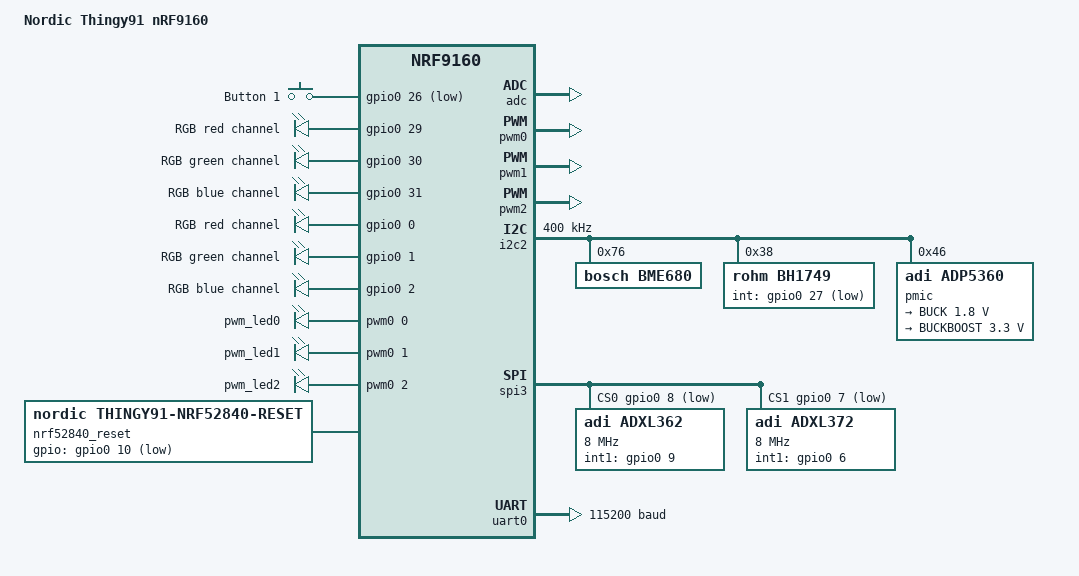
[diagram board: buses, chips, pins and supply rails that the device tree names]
/*
 * Copyright (c) 2019 Nordic Semiconductor ASA
 *
 * SPDX-License-Identifier: LicenseRef-Nordic-5-Clause
 */
#include "thingy91_nrf9160_common-pinctrl.dtsi"

/ {
	model = "Nordic Thingy91 nRF9160";
	compatible = "nordic,thingy91-nrf9160";

	chosen {
		zephyr,console = &uart0;
		zephyr,shell-uart = &uart0;
		zephyr,uart-mcumgr = &uart0;
	};

	buttons {
		compatible = "gpio-keys";

		button0: button_0 {
			gpios = <&gpio0 26 (GPIO_PULL_UP | GPIO_ACTIVE_LOW)>;
			label = "Button 1";
		};
	};

	leds {
		compatible = "gpio-leds";
		red_led: led_1 {
			gpios = <&gpio0 29 0>;
			label = "RGB red channel";
		};
		green_led: led_2 {
			gpios = <&gpio0 30 0>;
			label = "RGB green channel";
		};
		blue_led: led_3 {
			gpios = <&gpio0 31 0>;
			label = "RGB blue channel";
		};
		sense_red_led: led_4 {
			gpios = <&gpio0 0 0>;
			label = "RGB red channel";
		};
		sense_green_led: led_5 {
			gpios = <&gpio0 1 0>;
			label = "RGB green channel";
		};
		sense_blue_led: led_6 {
			gpios = <&gpio0 2 0>;
			label = "RGB blue channel";
		};
	};

	pwmleds {
		compatible = "pwm-leds";
		pwm_led0: pwm_led_0 {
			pwms = <&pwm0 0 PWM_MSEC(8) PWM_POLARITY_NORMAL>;
		};
		pwm_led1: pwm_led_1 {
			pwms = <&pwm0 1 PWM_MSEC(8) PWM_POLARITY_NORMAL>;
		};
		pwm_led2: pwm_led_2 {
			pwms = <&pwm0 2 PWM_MSEC(8) PWM_POLARITY_NORMAL>;
		};
	};

	nrf52840_reset: gpio-reset {
		compatible = "nordic,thingy91-nrf52840-reset";
		status = "okay";
		gpios = <&gpio0 10 GPIO_ACTIVE_LOW>;
	};

	aliases {
		sw0 = &button0;
		led0 = &red_led;
		led1 = &green_led;
		led2 = &blue_led;
		sense-led0 = &sense_red_led;
		sense-led1 = &sense_green_led;
		sense-led2 = &sense_blue_led;
		pwm-led0 = &pwm_led0;
		pwm-led1 = &pwm_led1;
		pwm-led2 = &pwm_led2;
		rgb-pwm = &pwm0;
		nmos-pwm = &pwm2;
		mcuboot-button0 = &button0;
		mcuboot-led0 = &blue_led;
	};
};

&adc {
	status = "okay";
};

&gpiote {
	status = "okay";
};

&gpio0 {
	status = "okay";
};

/* PWM0 is intended for RGB LED control */
&pwm0 {
	status = "okay";
	pinctrl-0 = <&pwm0_default>;
	pinctrl-1 = <&pwm0_sleep>;
	pinctrl-names = "default", "sleep";
};

/* PWM1 is intended for buzzer control */
&pwm1 {
	status = "okay";
	pinctrl-0 = <&pwm1_default>;
	pinctrl-1 = <&pwm1_sleep>;
	pinctrl-names = "default", "sleep";
};

/* PWM2 is intended for NMOS transistor control */
&pwm2 {
	status = "okay";
	pinctrl-0 = <&pwm2_default>;
	pinctrl-1 = <&pwm2_sleep>;
	pinctrl-names = "default", "sleep";
};

&i2c2 {
	compatible = "nordic,nrf-twim";
	status = "okay";
	clock-frequency = <I2C_BITRATE_FAST>;

	pinctrl-0 = <&i2c2_default>;
	pinctrl-1 = <&i2c2_sleep>;
	pinctrl-names = "default", "sleep";
	bme680: bme680@76 {
		compatible = "bosch,bme680";
		reg = <0x76>;
	};

	bh1749: bh1749@38 {
		compatible = "rohm,bh1749";
		reg = <0x38>;
		int-gpios = <&gpio0 27 (GPIO_PULL_UP | GPIO_ACTIVE_LOW)>;
	};

	pmic@46 {
		compatible = "adi,adp5360";
		reg = <0x46>;

		regulators {
			compatible = "adi,adp5360-regulator";

			BUCK {
				regulator-min-microvolt = <1800000>;
				regulator-max-microvolt = <1800000>;
				regulator-init-microvolt = <1800000>;
				regulator-always-on;
				adi,enable-output-discharge;
			};

			BUCKBOOST {
				regulator-min-microvolt = <3300000>;
				regulator-max-microvolt = <3300000>;
				regulator-init-microvolt = <3300000>;
				regulator-always-on;
			};
		};
	};
};

&spi3 {
	compatible = "nordic,nrf-spim";
	status = "okay";
	cs-gpios = <&gpio0 8 GPIO_ACTIVE_LOW>, <&gpio0 7 GPIO_ACTIVE_LOW>;

	pinctrl-0 = <&spi3_default>;
	pinctrl-1 = <&spi3_sleep>;
	pinctrl-names = "default", "sleep";
	adxl362: adxl362@0 {
		compatible = "adi,adxl362";
		spi-max-frequency = <8000000>;
		reg = <0>;
		int1-gpios = <&gpio0 9 0>;
	};

	adxl372: adxl372@1 {
		compatible = "adi,adxl372";
		spi-max-frequency = <8000000>;
		reg = <1>;
		int1-gpios = <&gpio0 6 0>;
	};
};

&uart0 {
	compatible = "nordic,nrf-uarte";
	current-speed = <115200>;
	status = "okay";
	pinctrl-0 = <&uart0_default>;
	pinctrl-1 = <&uart0_sleep>;
	pinctrl-names = "default", "sleep";
};

&uart1 {
	current-speed = <1000000>;
	status = "disabled";
	pinctrl-0 = <&uart1_default>;
	pinctrl-1 = <&uart1_sleep>;
	pinctrl-names = "default", "sleep";
};

&flash0 {
	/*
	 * For more information, see:
	 * http://docs.zephyrproject.org/devices/dts/flash_partitions.html
	 */
	partitions {
		compatible = "fixed-partitions";
		#address-cells = <1>;
		#size-cells = <1>;

		boot_partition: partition@0 {
			label = "mcuboot";
			reg = <0x00000000 0x10000>;
		};
		slot0_partition: partition@10000 {
			label = "image-0";
		};
		slot0_ns_partition: partition@40000 {
			label = "image-0-nonsecure";
		};
		slot1_partition: partition@80000 {
			label = "image-1";
		};
		slot1_ns_partition: partition@b0000 {
			label = "image-1-nonsecure";
		};
		scratch_partition: partition@f0000 {
			label = "image-scratch";
			reg = <0x000f0000 0xa000>;
		};
		storage_partition: partition@fa000 {
			label = "storage";
			reg = <0x000fa000 0x00006000>;
		};
	};
};

/ {

	reserved-memory {
		#address-cells = <1>;
		#size-cells = <1>;
		ranges;

		sram0_s: image_s@20000000 {
			/* Secure image memory */
		};

		sram0_bsd: image_bsd@20010000 {
			/* BSD (shared) memory */
		};

		sram0_ns: image_ns@20020000 {
			/* Non-Secure image memory */
		};
	};
};

/* Include partition configuration file */
#include "thingy91_nrf9160_partition_conf.dts"
